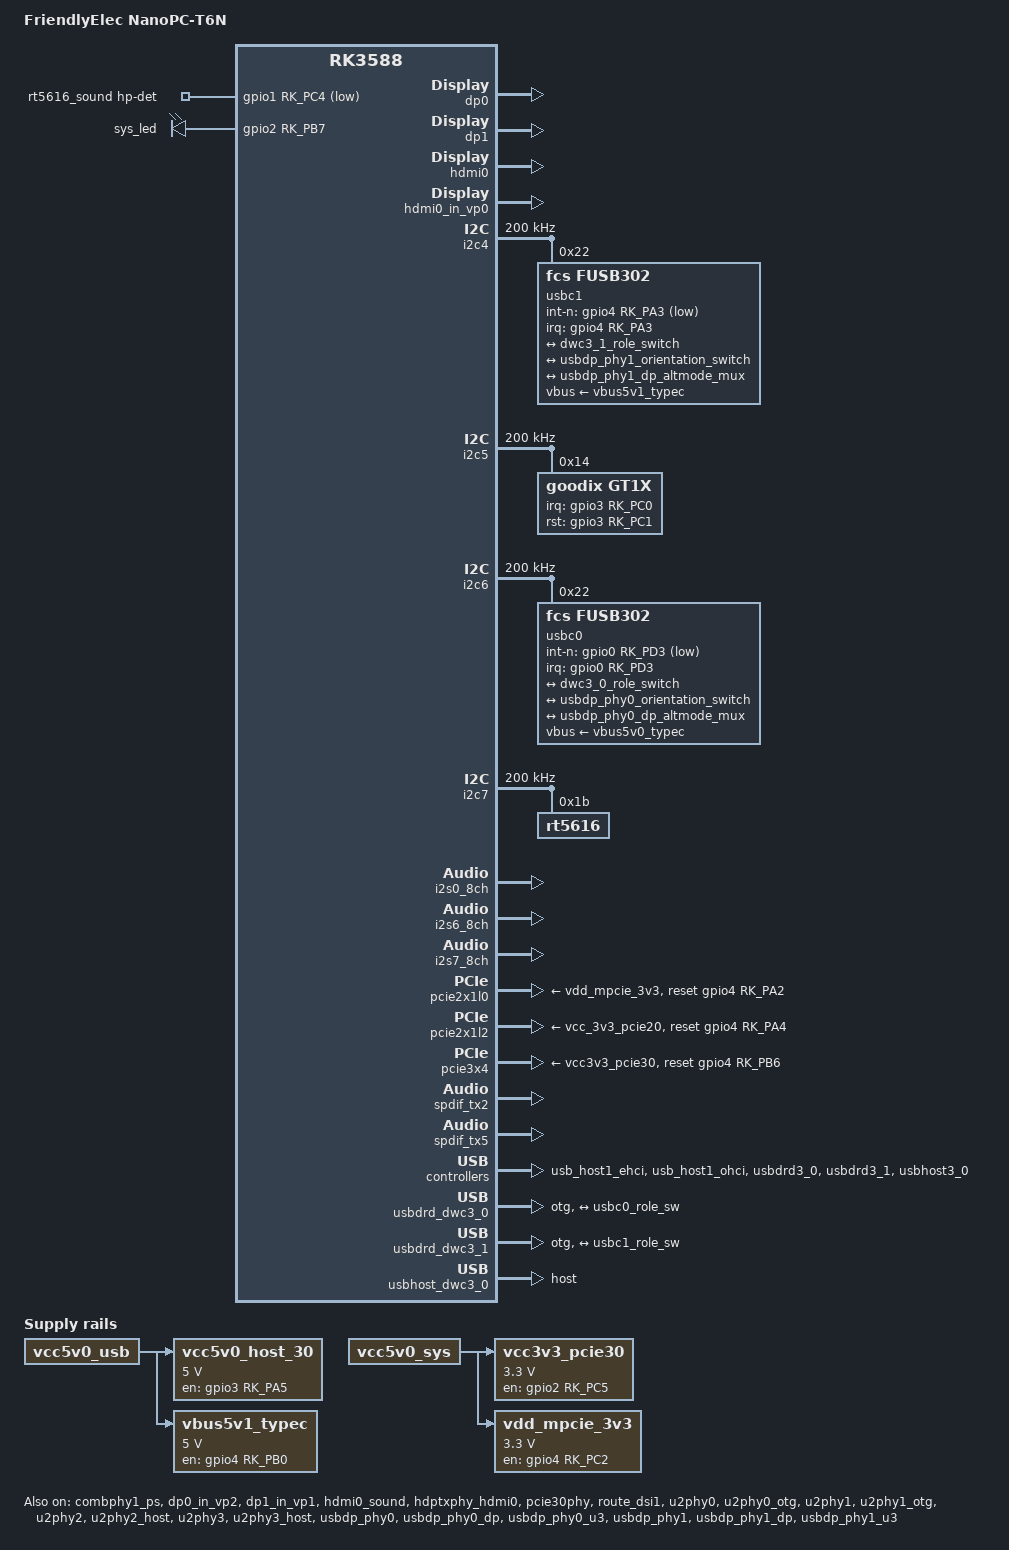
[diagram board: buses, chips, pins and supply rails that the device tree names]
// SPDX-License-Identifier: (GPL-2.0+ OR MIT)
/*
 * Copyright (c) 2023 FriendlyElec Computer Tech. Co., Ltd.
 * (http://www.friendlyelec.com)
 */

/dts-v1/;

#include "rk3588.dtsi"
#include "rk3588-nanopi6-common.dtsi"
#include "rk3588-nanopi6-mipi-55amoled.dtsi"

/ {
	model = "FriendlyElec NanoPC-T6N";
	compatible = "friendlyelec,nanopc-t6n", "rockchip,rk3588";

	aliases {
		ethernet0 = &r8125_u10;
	};

	dp0_sound: dp0-sound {
		status = "okay";
		compatible = "rockchip,hdmi";
		rockchip,card-name= "rockchip,dp0";
		rockchip,mclk-fs = <512>;
		rockchip,cpu = <&spdif_tx2>;
		rockchip,codec = <&dp0 1>;
	};

	dp1_sound: dp1-sound {
		status = "okay";
		compatible = "rockchip,hdmi";
		rockchip,card-name= "rockchip,dp1";
		rockchip,mclk-fs = <512>;
		rockchip,cpu = <&spdif_tx5>;
		rockchip,codec = <&dp1 1>;
	};

	rt5616_sound: rt5616-sound {
		status = "okay";
		compatible = "simple-audio-card";
		pinctrl-names = "default";
		pinctrl-0 = <&hp_det>;

		simple-audio-card,name = "realtek,rt5616-codec";
		simple-audio-card,format = "i2s";
		simple-audio-card,mclk-fs = <256>;

		simple-audio-card,hp-det-gpio = <&gpio1 RK_PC4 GPIO_ACTIVE_LOW>;
		simple-audio-card,hp-pin-name = "Headphone Jack";

		simple-audio-card,widgets =
			"Headphone", "Headphone Jack",
			"Microphone", "Microphone Jack";
		simple-audio-card,routing =
			"Headphone Jack", "HPOL",
			"Headphone Jack", "HPOR",
			"MIC1", "Microphone Jack",
			"Microphone Jack", "micbias1";

		simple-audio-card,cpu {
			sound-dai = <&i2s0_8ch>;
		};
		simple-audio-card,codec {
			sound-dai = <&rt5616>;
		};
	};

	gpio_leds: gpio-leds {
		compatible = "gpio-leds";

		sys_led: led-0 {
			gpios = <&gpio2 RK_PB7 GPIO_ACTIVE_HIGH>;
			label = "sys_led";
			linux,default-trigger = "heartbeat";
			pinctrl-names = "default";
			pinctrl-0 = <&sys_led_pin>;
		};
	};

	vcc5v0_host_30: vcc5v0-host-30 {
		compatible = "regulator-fixed";
		enable-active-high;
		gpio = <&gpio3 RK_PA5 GPIO_ACTIVE_HIGH>;
		pinctrl-names = "default";
		pinctrl-0 = <&vcc5v0_host30_en>;
		regulator-name = "vcc5v0_host_30";
		regulator-min-microvolt = <5000000>;
		regulator-max-microvolt = <5000000>;
		vin-supply = <&vcc5v0_usb>;
	};

	vbus5v1_typec: vbus5v1-typec {
		compatible = "regulator-fixed";
		enable-active-high;
		gpio = <&gpio4 RK_PB0 GPIO_ACTIVE_HIGH>;
		pinctrl-names = "default";
		pinctrl-0 = <&typec5v1_pwren>;
		regulator-name = "vbus5v1_typec";
		regulator-min-microvolt = <5000000>;
		regulator-max-microvolt = <5000000>;
		vin-supply = <&vcc5v0_usb>;
	};

	vcc3v3_pcie30: vcc3v3-pcie30 {
		compatible = "regulator-fixed";
		enable-active-high;
		gpios = <&gpio2 RK_PC5 GPIO_ACTIVE_HIGH>;
		pinctrl-names = "default";
		pinctrl-0 = <&pcie_m2_0_pwren>;
		regulator-name = "vcc3v3_pcie30";
		regulator-min-microvolt = <3300000>;
		regulator-max-microvolt = <3300000>;
		vin-supply = <&vcc5v0_sys>;
	};

	vdd_mpcie_3v3: vdd-mpcie-3v3 {
		compatible = "regulator-fixed";
		enable-active-high;
		gpio = <&gpio4 RK_PC2 GPIO_ACTIVE_HIGH>;
		pinctrl-names = "default";
		pinctrl-0 = <&pcie_m2_1_pwren>;
		regulator-name = "vdd_mpcie_3v3";
		regulator-min-microvolt = <3300000>;
		regulator-max-microvolt = <3300000>;
		vin-supply = <&vcc5v0_sys>;
	};
};

&combphy1_ps {
	status = "okay";
};

&display_subsystem {
	clocks = <&hdptxphy_hdmi0>, <&hdptxphy_hdmi1>;
	clock-names = "hdmi0_phy_pll", "hdmi1_phy_pll";
};

&dp0 {
	status = "okay";
};

&dp0_in_vp0 {
	status = "disabled";
};

&dp0_in_vp1 {
	status = "disabled";
};

&dp0_in_vp2 {
	status = "okay";
};

&dp1 {
	status = "okay";
};

&dp1_in_vp0 {
	status = "disabled";
};

&dp1_in_vp1 {
	status = "okay";
};

&dp1_in_vp2 {
	status = "disabled";
};

&dsi1_panel {
	pinctrl-0 = <&lcd_rst0_gpio>;
	reset-gpios = <&gpio3 RK_PA6 GPIO_ACTIVE_LOW>;
};

&gmac1 {
	status = "disabled";
};

&hdmi0 {
	enable-gpios = <&gpio4 RK_PB1 GPIO_ACTIVE_HIGH>;
	status = "okay";
};

&hdmi0_in_vp0 {
	status = "okay";
};

&hdmi0_in_vp1 {
	status = "disabled";
};

&hdmi0_in_vp2 {
	status = "disabled";
};

&hdmi0_sound {
	status = "okay";
};

&hdptxphy_hdmi0 {
	status = "okay";
};

&i2c3 {
	pinctrl-0 = <&i2c3m0_xfer>;
	/* connected with MIPI-CSI0 */
};

&i2c4 {
	clock-frequency = <200000>;
	pinctrl-0 = <&i2c4m3_xfer>;
	status = "okay";

	usbc1: fusb302@22 {
		compatible = "fcs,fusb302";
		reg = <0x22>;
		interrupt-parent = <&gpio4>;
		interrupts = <RK_PA3 IRQ_TYPE_LEVEL_LOW>;
		int-n-gpios = <&gpio4 RK_PA3 GPIO_ACTIVE_LOW>;
		pinctrl-names = "default";
		pinctrl-0 = <&usbc1_int>;
		vbus-supply = <&vbus5v1_typec>;
		status = "okay";

		ports {
			#address-cells = <1>;
			#size-cells = <0>;

			port@0 {
				reg = <0>;
				usbc1_role_sw: endpoint@0 {
					remote-endpoint = <&dwc3_1_role_switch>;
				};
			};
		};

		usb_con1: connector {
			compatible = "usb-c-connector";
			label = "USB-C";
			data-role = "dual";
			power-role = "dual";
			try-power-role = "sink";
			op-sink-microwatt = <1000000>;
			sink-pdos =
				<PDO_FIXED(5000, 3000, PDO_FIXED_USB_COMM)>;
			source-pdos =
				<PDO_FIXED(5000, 2000, PDO_FIXED_USB_COMM)>;

			altmodes {
				#address-cells = <1>;
				#size-cells = <0>;

				altmode@0 {
					reg = <0>;
					svid = <0xff01>;
					vdo = <0xffffffff>;
				};
			};

			ports {
				#address-cells = <1>;
				#size-cells = <0>;

				port@0 {
					reg = <0>;
					usbc1_orien_sw: endpoint {
						remote-endpoint = <&usbdp_phy1_orientation_switch>;
					};
				};

				port@1 {
					reg = <1>;
					dp1_altmode_mux: endpoint {
						remote-endpoint = <&usbdp_phy1_dp_altmode_mux>;
					};
				};
			};
		};
	};
};

&i2c5 {
	clock-frequency = <200000>;
	pinctrl-0 = <&i2c5m0_xfer>;
	status = "okay";

	gt1x: gt1x@14 {
		compatible = "goodix,gt1x";
		reg = <0x14>;
		pinctrl-names = "default";
		pinctrl-0 = <&touch_dsi0_gpio>;
		interrupt-parent = <&gpio3>;
		interrupts = <RK_PC0 IRQ_TYPE_EDGE_FALLING>;
		goodix,irq-gpio = <&gpio3 RK_PC0 IRQ_TYPE_EDGE_FALLING>;
		goodix,rst-gpio = <&gpio3 RK_PC1 GPIO_ACTIVE_HIGH>;
		keep-otp-config;
	};
};

&i2c6 {
	clock-frequency = <200000>;
	status = "okay";

	usbc0: fusb302@22 {
		compatible = "fcs,fusb302";
		reg = <0x22>;
		interrupt-parent = <&gpio0>;
		interrupts = <RK_PD3 IRQ_TYPE_LEVEL_LOW>;
		int-n-gpios = <&gpio0 RK_PD3 GPIO_ACTIVE_LOW>;
		pinctrl-names = "default";
		pinctrl-0 = <&usbc0_int>;
		vbus-supply = <&vbus5v0_typec>;
		status = "okay";

		ports {
			#address-cells = <1>;
			#size-cells = <0>;

			port@0 {
				reg = <0>;
				usbc0_role_sw: endpoint@0 {
					remote-endpoint = <&dwc3_0_role_switch>;
				};
			};
		};

		usb_con0: connector {
			compatible = "usb-c-connector";
			label = "USB-C";
			data-role = "dual";
			power-role = "dual";
			try-power-role = "sink";
			op-sink-microwatt = <1000000>;
			sink-pdos =
				<PDO_FIXED(5000, 3000, PDO_FIXED_USB_COMM)>;
			source-pdos =
				<PDO_FIXED(5000, 2000, PDO_FIXED_USB_COMM)>;

			altmodes {
				#address-cells = <1>;
				#size-cells = <0>;

				altmode@0 {
					reg = <0>;
					svid = <0xff01>;
					vdo = <0xffffffff>;
				};
			};

			ports {
				#address-cells = <1>;
				#size-cells = <0>;

				port@0 {
					reg = <0>;
					usbc0_orien_sw: endpoint {
						remote-endpoint = <&usbdp_phy0_orientation_switch>;
					};
				};

				port@1 {
					reg = <1>;
					dp0_altmode_mux: endpoint {
						remote-endpoint = <&usbdp_phy0_dp_altmode_mux>;
					};
				};
			};
		};
	};
};

&i2c7 {
	clock-frequency = <200000>;
	status = "okay";

	rt5616: rt5616@1b {
		status = "okay";
		#sound-dai-cells = <0>;
		compatible = "rt5616";
		reg = <0x1b>;
		clocks = <&mclkout_i2s0>;
		clock-names = "mclk";
		assigned-clocks = <&mclkout_i2s0>;
		assigned-clock-rates = <12288000>;
		pinctrl-names = "default";
		pinctrl-0 = <&i2s0_mclk>;
	};

	/* connected with MIPI-CSI1 */
};

&i2c8 {
	pinctrl-0 = <&i2c8m2_xfer>;
	/* connected with Header_2.54MM */
};

&i2s0_8ch {
	status = "okay";
	pinctrl-0 = <&i2s0_lrck
		     &i2s0_sclk
		     &i2s0_sdi0
		     &i2s0_sdo0>;
	rockchip,trcm-sync-tx-only;
};

&i2s6_8ch {
	status = "okay";
};

&i2s7_8ch {
	status = "okay";
};

&mach {
	hwrev = <8>;
	model = "NanoPC-T6N";
};

&mdio1 {
	status = "disabled";
};

&pcie2x1l0 {
	reset-gpios = <&gpio4 RK_PA2 GPIO_ACTIVE_HIGH>;
	rockchip,init-delay-ms = <500>;
	rockchip,skip-hw-retry;
	vpcie3v3-supply = <&vdd_mpcie_3v3>;
	status = "okay";
};

&pcie2x1l1 {
	status = "disabled";
};

&pcie2x1l2 {
	reset-gpios = <&gpio4 RK_PA4 GPIO_ACTIVE_HIGH>;
	vpcie3v3-supply = <&vcc_3v3_pcie20>;
	status = "okay";

	pcie@0,0 {
		reg = <0x00400000 0 0 0 0>;
		#address-cells = <3>;
		#size-cells = <2>;

		r8125_u10: pcie@40,0 {
			reg = <0x000000 0 0 0 0>;
			local-mac-address = [ 00 00 00 00 00 00 ];
		};
	};
};

&pcie30phy {
	status = "okay";
};

&pcie3x4 {
	reset-gpios = <&gpio4 RK_PB6 GPIO_ACTIVE_HIGH>;
	vpcie3v3-supply = <&vcc3v3_pcie30>;
	status = "okay";
};

&pinctrl {
	gpio-leds {
		sys_led_pin: sys-led-pin {
			rockchip,pins = <2 RK_PB7 RK_FUNC_GPIO &pcfg_pull_none>;
		};

		usr_led_pin: usr-led-pin {
			rockchip,pins = <2 RK_PC0 RK_FUNC_GPIO &pcfg_pull_none>;
		};
	};

	headphone {
		hp_det: hp-det {
			rockchip,pins = <1 RK_PC4 RK_FUNC_GPIO &pcfg_pull_none>;
		};
	};

	lcd {
		/omit-if-no-ref/
		lcd_rst0_gpio: lcd-rst0-gpio {
			rockchip,pins = <3 RK_PA6 RK_FUNC_GPIO &pcfg_pull_none>;
		};

		/omit-if-no-ref/
		touch_dsi0_gpio: touch-dsi0-gpio {
			rockchip,pins =
				<3 RK_PC0 RK_FUNC_GPIO &pcfg_pull_up>,
				<3 RK_PC1 RK_FUNC_GPIO &pcfg_pull_none>;
		};
	};

	pcie {
		pcie_m2_0_pwren: pcie-m20-pwren {
			rockchip,pins = <2 RK_PC5 RK_FUNC_GPIO &pcfg_pull_none>;
		};

		pcie_m2_1_pwren: pcie-m21-pwren {
			rockchip,pins = <4 RK_PC2 RK_FUNC_GPIO &pcfg_pull_none>;
		};
	};

	sdmmc {
		sd_s0_pwr: sd-s0-pwr {
			rockchip,pins = <4 RK_PA5 RK_FUNC_GPIO &pcfg_pull_down>;
		};
	};

	usb {
		typec5v1_pwren: typec5v1-pwren {
			rockchip,pins = <4 RK_PB0 RK_FUNC_GPIO &pcfg_pull_none>;
		};

		usbc1_int: usbc1-int {
			rockchip,pins = <4 RK_PA3 RK_FUNC_GPIO &pcfg_pull_up>;
		};

		vcc5v0_host30_en: vcc5v0-host30-en {
			rockchip,pins = <3 RK_PA5 RK_FUNC_GPIO &pcfg_pull_none>;
		};

		/omit-if-no-ref/
		vcc5v0_host20_en: vcc5v0-host20-en {
			rockchip,pins = <1 RK_PA4 RK_FUNC_GPIO &pcfg_pull_none>;
		};
	};
};

&pwm2 {
	pinctrl-0 = <&pwm2m1_pins>;
	/* connected with MIPI-DSI0 */
};

&pwm11 {
	pinctrl-0 = <&pwm11m3_pins>;
	/* connected with MIPI-DSI1 */
};

&route_dsi1 {
	status = "okay";
	connect = <&vp3_out_dsi1>;
};

&spdif_tx2 {
	status = "okay";
};

&spdif_tx5 {
	status = "okay";
};

&u2phy0 {
	status = "okay";
};

&u2phy0_otg {
	rockchip,typec-vbus-det;
	status = "okay";
};

&u2phy1 {
	status = "okay";
};

&u2phy1_otg {
	rockchip,typec-vbus-det;
	status = "okay";
};

&u2phy2 {
	status = "okay";
};

&u2phy2_host {
	status = "okay";
};

&u2phy3 {
	status = "okay";
};

&u2phy3_host {
	phy-supply = <&vcc5v0_host_30>;
	status = "okay";
};

&usb_host1_ehci {
	status = "okay";
};

&usb_host1_ohci {
	status = "okay";
};

&usbdp_phy0 {
	orientation-switch;
	rockchip,dp-lane-mux = <0 1 2 3 >;
	svid = <0xff01>;
	sbu1-dc-gpios = <&gpio4 RK_PA6 GPIO_ACTIVE_HIGH>;
	sbu2-dc-gpios = <&gpio4 RK_PA7 GPIO_ACTIVE_HIGH>;
	status = "okay";

	port {
		#address-cells = <1>;
		#size-cells = <0>;
		usbdp_phy0_orientation_switch: endpoint@0 {
			reg = <0>;
			remote-endpoint = <&usbc0_orien_sw>;
		};

		usbdp_phy0_dp_altmode_mux: endpoint@1 {
			reg = <1>;
			remote-endpoint = <&dp0_altmode_mux>;
		};
	};
};

&usbdp_phy0_dp {
	status = "okay";
};

&usbdp_phy0_u3 {
	status = "okay";
};

&usbdrd3_0 {
	status = "okay";
};

&usbdrd_dwc3_0 {
	dr_mode = "otg";
	usb-role-switch;
	status = "okay";

	port {
		#address-cells = <1>;
		#size-cells = <0>;
		dwc3_0_role_switch: endpoint@0 {
			reg = <0>;
			remote-endpoint = <&usbc0_role_sw>;
		};
	};
};

&usbdp_phy1 {
	orientation-switch;
	rockchip,dp-lane-mux = <0 1 2 3 >;
	svid = <0xff01>;
	sbu1-dc-gpios = <&gpio4 RK_PA0 GPIO_ACTIVE_HIGH>;
	sbu2-dc-gpios = <&gpio4 RK_PA1 GPIO_ACTIVE_HIGH>;
	status = "okay";

	port {
		#address-cells = <1>;
		#size-cells = <0>;
		usbdp_phy1_orientation_switch: endpoint@0 {
			reg = <0>;
			remote-endpoint = <&usbc1_orien_sw>;
		};

		usbdp_phy1_dp_altmode_mux: endpoint@1 {
			reg = <1>;
			remote-endpoint = <&dp1_altmode_mux>;
		};
	};
};

&usbdp_phy1_dp {
	status = "okay";
};

&usbdp_phy1_u3 {
	status = "okay";
};

&usbdrd3_1 {
	status = "okay";
};

&usbdrd_dwc3_1 {
	dr_mode = "otg";
	usb-role-switch;
	status = "okay";

	port {
		#address-cells = <1>;
		#size-cells = <0>;
		dwc3_1_role_switch: endpoint@0 {
			reg = <0>;
			remote-endpoint = <&usbc1_role_sw>;
		};
	};
};

&usbhost3_0 {
	status = "okay";
};

&usbhost_dwc3_0 {
	dr_mode = "host";
	status = "okay";
};

&vcc_3v3_sd_s0 {
	/delete-property/ enable-active-high;
	gpio = <&gpio4 RK_PA5 GPIO_ACTIVE_LOW>;
};

&vop {
	disable-win-move;
};

&vp0 {
	rockchip,plane-mask = <(1 << ROCKCHIP_VOP2_CLUSTER0 | 1 << ROCKCHIP_VOP2_ESMART0)>;
	rockchip,primary-plane = <ROCKCHIP_VOP2_CLUSTER0>;
	cursor-win-id = <ROCKCHIP_VOP2_ESMART0>;
};

&vp1 {
	rockchip,plane-mask = <(1 << ROCKCHIP_VOP2_CLUSTER1 | 1 << ROCKCHIP_VOP2_ESMART1)>;
	rockchip,primary-plane = <ROCKCHIP_VOP2_CLUSTER1>;
	cursor-win-id = <ROCKCHIP_VOP2_ESMART1>;
};

&vp2 {
	rockchip,plane-mask = <(1 << ROCKCHIP_VOP2_CLUSTER2 | 1 << ROCKCHIP_VOP2_ESMART2)>;
	rockchip,primary-plane = <ROCKCHIP_VOP2_CLUSTER2>;
	cursor-win-id = <ROCKCHIP_VOP2_ESMART2>;
};

&vp3 {
	rockchip,plane-mask = <(1 << ROCKCHIP_VOP2_CLUSTER3 | 1 << ROCKCHIP_VOP2_ESMART3)>;
	rockchip,primary-plane = <ROCKCHIP_VOP2_ESMART3>;
	cursor-win-id = <ROCKCHIP_VOP2_CLUSTER3>;
};
